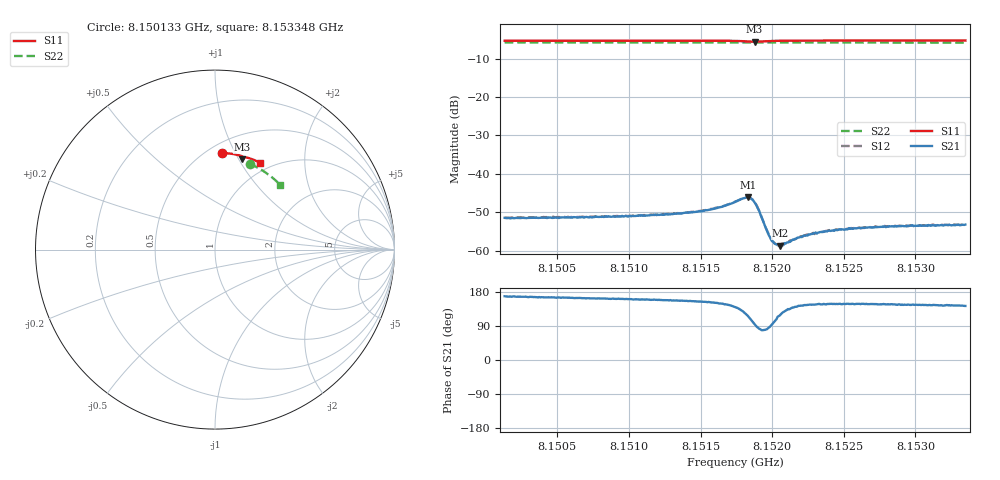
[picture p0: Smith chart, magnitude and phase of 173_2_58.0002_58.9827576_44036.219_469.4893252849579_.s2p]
#  HZ  S  RI  R  50.00
! Rohde & Schwarz Vector Network Analyzer
! Rohde-Schwarz,ZNB20-2Port,1311601062101988,3.16
! Created: UTC 3/21/2024, 12:58:01 AM
! freq[Hz]  re:S11  im:S11  re:S21  im:S21  re:S12  im:S12  re:S22  im:S22
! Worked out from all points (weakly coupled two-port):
!   401 points, 8.150133 GHz to 8.153348 GHz, reference 50 ohm
!   highest |S21| = -46.12 dB at 8.151829 GHz (marker M1); lowest = -58.7 dB at 8.152054 GHz (marker M2)
!   lowest |S11| = -5.6 dB at 8.151877 GHz (marker M3), VSWR 3.21, Z = 37.3 + j51.8 ohm
!   |S11| at or under -10 dB: nowhere
!   |S22| runs from -5.8 to -5.7 dB; largest |S21 - S12| = 0.00012
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8.1501333e9  0.0407 0.5391  -0.00262 0.000547  -0.00261 0.00061  0.1947 0.4773
8.1506718e9  0.0784 0.5357  -0.00262 0.000784  -0.00265 0.000799  0.2263 0.4627
8.1512102e9  0.1164 0.5297  -0.00273 0.00105  -0.00276 0.00115  0.2567 0.4458
8.151379e9  0.1286 0.5269  -0.00284 0.00124  -0.00284 0.00131  0.2658 0.44
8.1515478e9  0.1411 0.5233  -0.00299 0.00156  -0.00302 0.00162  0.275 0.4341
8.1516603e9  0.1503 0.5196  -0.00321 0.00201  -0.00321 0.00208  0.2813 0.4299
8.1517407e9  0.1568 0.5147  -0.00329 0.00277  -0.00331 0.00281  0.2853 0.427
8.1517969e9  0.1598 0.5088  -0.00296 0.00378  -0.00293 0.00385  0.2881 0.4247
8.1518291e9  0.1591 0.5044  -0.00224 0.0044  -0.00215 0.00445  0.2896 0.4233
8.1518532e9  0.1566 0.5022  -0.00132 0.00457  -0.00122 0.00464  0.2907 0.4226
8.1518773e9  0.1532 0.5024  -0.000326 0.00424  -0.000249 0.00431  0.2919 0.4216
8.1519014e9  0.1512 0.5049  0.000298 0.00351  0.000344 0.00355  0.293 0.4211
8.1519657e9  0.154 0.5123  0.000257 0.00176  0.000256 0.00178  0.2963 0.4188
8.1519898e9  0.1565 0.5137  -3.3e-06 0.00145  1.42e-05 0.00143  0.2976 0.418
8.152022e9  0.1599 0.5146  -0.000306 0.00118  -0.000281 0.0012  0.2993 0.4168
8.1520541e9  0.1631 0.515  -0.000544 0.00103  -0.000578 0.00107  0.3011 0.4155
8.1520943e9  0.1668 0.5148  -0.000805 0.000949  -0.000777 0.000968  0.3032 0.4139
8.1521747e9  0.1736 0.5137  -0.00114 0.000931  -0.00114 0.000937  0.3073 0.4109
8.1522792e9  0.1818 0.5118  -0.00137 0.000926  -0.00137 0.00095  0.3126 0.4067
8.152464e9  0.1951 0.5077  -0.0016 0.001  -0.0016 0.00101  0.3217 0.3991
8.1528176e9  0.2189 0.4988  -0.00174 0.00115  -0.00173 0.00115  0.3387 0.3843
8.1533481e9  0.2526 0.4835  -0.00174 0.00133  -0.00175 0.00133  0.3629 0.3606
